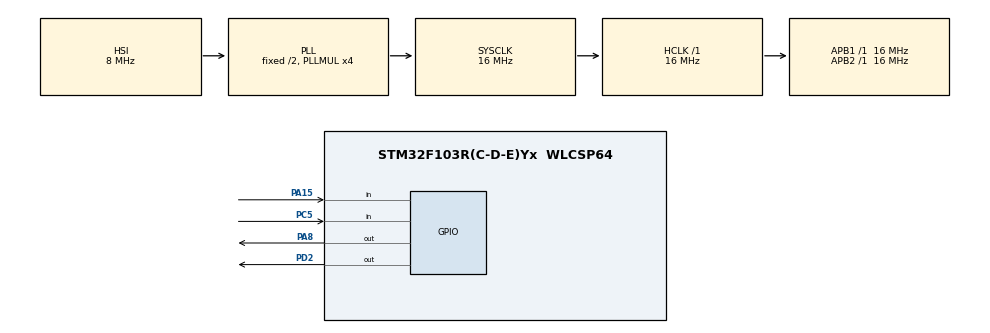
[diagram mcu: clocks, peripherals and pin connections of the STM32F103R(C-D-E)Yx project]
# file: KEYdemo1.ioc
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Mcu.Family=STM32F1
Mcu.Name=STM32F103R(C-D-E)Yx
Mcu.Package=WLCSP64
NVIC.PriorityGroup=NVIC_PRIORITYGROUP_4
PA15.GPIO_PuPd=GPIO_PULLUP
PA15.Signal=GPIO_Input
PA8.Signal=GPIO_Output
PC5.GPIO_PuPd=GPIO_PULLUP
PC5.Signal=GPIO_Input
PD0-OSC_IN.Mode=HSE-External-Oscillator
PD0-OSC_IN.Signal=RCC_OSC_IN
PD1-OSC_OUT.Mode=HSE-External-Oscillator
PD1-OSC_OUT.Signal=RCC_OSC_OUT
PD2.Signal=GPIO_Output
ProjectManager.HeapSize=0x200
ProjectManager.StackSize=0x400
ProjectManager.TargetToolchain=MDK-ARM V5
RCC.AHBFreq_Value=16000000
RCC.APB1Freq_Value=16000000
RCC.APB1TimFreq_Value=16000000
RCC.APB2Freq_Value=16000000
RCC.APB2TimFreq_Value=16000000
RCC.HCLKFreq_Value=16000000
RCC.PLLMUL=RCC_PLL_MUL4
RCC.SYSCLKFreq_VALUE=16000000
RCC.SYSCLKSource=RCC_SYSCLKSOURCE_PLLCLK
RCC.USBFreq_Value=16000000
VP_SYS_VS_ND.Mode=No_Debug
board=custom

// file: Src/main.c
/* USER CODE BEGIN Header */
/**
  ******************************************************************************
  * @file           : main.c
  * @brief          : Main program body
  ******************************************************************************
  * @attention
  *
  * <h2><center>&copy; Copyright (c) 2020 STMicroelectronics.
  * All rights reserved.</center></h2>
  *
  * This software component is licensed by ST under BSD 3-Clause license,
  * the "License"; You may not use this file except in compliance with the
  * License. You may obtain a copy of the License at:
  *                        opensource.org/licenses/BSD-3-Clause
  *
  ******************************************************************************
  */
/* USER CODE END Header */

#include "main.h"
#include "gpio.h"

/* USER CODE BEGIN PD */
#define KEY1 HAL_GPIO_ReadPin(GPIOA, GPIO_PIN_15 ) == GPIO_PIN_RESET
#define KEY2 HAL_GPIO_ReadPin(GPIOC, GPIO_PIN_5 ) == GPIO_PIN_RESET
#define KEY HAL_GPIO_ReadPin(GPIOA, GPIO_PIN_0 ) == GPIO_PIN_SET
/* USER CODE END PD */

/* USER CODE BEGIN PV */
void Delay(unsigned int ms){
  while (ms--);
}

void Scan_Keys(){
  if(KEY1){               //PA15对应的key1按键
    Delay(5000);
    if(KEY1){
      HAL_GPIO_TogglePin(GPIOA, GPIO_PIN_8 );
      while (KEY1);
    }
  }

  if(KEY2){
    Delay(5000);
    if(KEY2){
      while(KEY2);
      HAL_GPIO_TogglePin(GPIOD, GPIO_PIN_2);
    }
  }

  if(KEY){
    Delay(5000);
    if (KEY){
       HAL_GPIO_TogglePin(GPIOA, GPIO_PIN_8 );
       HAL_GPIO_TogglePin(GPIOD, GPIO_PIN_2);
       while(KEY);
    }

  }

}

/* USER CODE END PV */

void SystemClock_Config(void);

int main(void)
{

  /* MCU Configuration--------------------------------------------------------*/

  /* Reset of all peripherals, Initializes the Flash interface and the Systick. */
  HAL_Init();

  /* Configure the system clock */
  SystemClock_Config();

  /* Initialize all configured peripherals */
  MX_GPIO_Init();

  /* Infinite loop */
  /* USER CODE BEGIN WHILE */
  while (1)
  {
    Scan_Keys();
    /* USER CODE END WHILE */

  }
}

void SystemClock_Config(void)
{
  RCC_OscInitTypeDef RCC_OscInitStruct = {0};
  RCC_ClkInitTypeDef RCC_ClkInitStruct = {0};

  /** Initializes the CPU, AHB and APB busses clocks
  */
  RCC_OscInitStruct.OscillatorType = RCC_OSCILLATORTYPE_HSI;
  RCC_OscInitStruct.HSIState = RCC_HSI_ON;
  RCC_OscInitStruct.HSICalibrationValue = RCC_HSICALIBRATION_DEFAULT;
  RCC_OscInitStruct.PLL.PLLState = RCC_PLL_ON;
  RCC_OscInitStruct.PLL.PLLSource = RCC_PLLSOURCE_HSI_DIV2;
  RCC_OscInitStruct.PLL.PLLMUL = RCC_PLL_MUL4;
  if (HAL_RCC_OscConfig(&RCC_OscInitStruct) != HAL_OK)
  {
    Error_Handler();
  }
  /** Initializes the CPU, AHB and APB busses clocks
  */
  RCC_ClkInitStruct.ClockType = RCC_CLOCKTYPE_HCLK|RCC_CLOCKTYPE_SYSCLK
                              |RCC_CLOCKTYPE_PCLK1|RCC_CLOCKTYPE_PCLK2;
  RCC_ClkInitStruct.SYSCLKSource = RCC_SYSCLKSOURCE_PLLCLK;
  RCC_ClkInitStruct.AHBCLKDivider = RCC_SYSCLK_DIV1;
  RCC_ClkInitStruct.APB1CLKDivider = RCC_HCLK_DIV1;
  RCC_ClkInitStruct.APB2CLKDivider = RCC_HCLK_DIV1;

  if (HAL_RCC_ClockConfig(&RCC_ClkInitStruct, FLASH_LATENCY_0) != HAL_OK)
  {
    Error_Handler();
  }
}

void Error_Handler(void)
{
}

/************************ (C) COPYRIGHT STMicroelectronics *****END OF FILE****/
